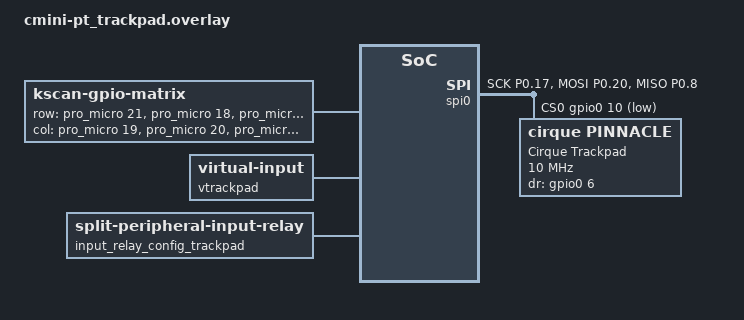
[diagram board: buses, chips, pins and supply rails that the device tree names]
#include "cmini-pt.dtsi" // Notice that the main dtsi files are included in the overlay.

#define INPUT_EV_KEY 0x01               /**< Key event */
#define INPUT_EV_REL 0x02               /**< Relative coordinate event */
#define INPUT_EV_ABS 0x03               /**< Absolute coordinate event */
#define INPUT_EV_MSC 0x04               /**< Miscellaneous event */
#define INPUT_EV_VENDOR_START 0xf0      /**< Vendor specific event start */
#define INPUT_EV_VENDOR_STOP 0xff       /**< Vendor specific event stop */

#define INPUT_REL_X 0x00                /**< Relative X coordinate */
#define INPUT_REL_Y 0x01                /**< Relative Y coordinate */
#define INPUT_REL_WHEEL 0x08            /**< Relative wheel coordinate */
#define INPUT_REL_HWHEEL 0x06           /**< Relative horizontal wheel coordinate */
#define INPUT_REL_MISC 0x09             /**< Relative misc coordinate */

/ {
    kscan0: kscan {
        compatible = "zmk,kscan-gpio-matrix";
        label = "KSCAN";
        diode-direction = "col2row";

        row-gpios
        = <&pro_micro 21 (GPIO_ACTIVE_HIGH | GPIO_PULL_DOWN)>
        , <&pro_micro 18 (GPIO_ACTIVE_HIGH | GPIO_PULL_DOWN)>
        , <&pro_micro 5 (GPIO_ACTIVE_HIGH | GPIO_PULL_DOWN)>
        , <&pro_micro 4 (GPIO_ACTIVE_HIGH | GPIO_PULL_DOWN)>
        ;
    col-gpios
        = <&pro_micro 19 GPIO_ACTIVE_HIGH>
        , <&pro_micro 20 GPIO_ACTIVE_HIGH>
        , <&pro_micro 10 GPIO_ACTIVE_HIGH>
        , <&pro_micro 6 GPIO_ACTIVE_HIGH>
        , <&pro_micro 7 GPIO_ACTIVE_HIGH>
        , <&pro_micro 8 GPIO_ACTIVE_HIGH>
        ;
    };
};

&pinctrl {
    spi0_default: spi0_default {
        group1 {
            psels = <NRF_PSEL(SPIM_SCK, 0, 17)>,
                <NRF_PSEL(SPIM_MOSI, 0, 20)>,
                <NRF_PSEL(SPIM_MISO, 0, 8)>;
        };
    };

    spi0_sleep: spi0_sleep {
        group1 {
            psels = <NRF_PSEL(SPIM_SCK, 0, 17)>,
                <NRF_PSEL(SPIM_MOSI, 0, 20)>,
                <NRF_PSEL(SPIM_MISO, 0, 8)>;
            low-power-enable;
        };
    };
};

&spi0 {
    status = "okay";
    compatible = "nordic,nrf-spim";
    pinctrl-0 = <&spi0_default>;
    pinctrl-1 = <&spi0_sleep>;
    pinctrl-names = "default", "sleep";
    cs-gpios = <&gpio0 10 GPIO_ACTIVE_LOW>; // P0.06

    trackpad: glidepoint@0 {
        compatible = "cirque,pinnacle";
        status = "okay";
        reg = <0>;
        label = "Cirque Trackpad";
        spi-max-frequency = <10000000>;
        dr-gpios = <&gpio0 6 GPIO_ACTIVE_HIGH>;
        no-taps;
    };
};


/ {
  vtrackpad: virtual_input_trackpad {
    compatible = "zmk,virtual-input";
  };

  vtrackball: virtual_input_trackball {
      compatible = "zmk,virtual-input";
  };

};

/ {
  input_relay_config_trackpad {
    compatible = "zmk,split-peripheral-input-relay";
    
    /* channel id, used to filter incoming annotated input event from split peripheral */
    /* NOTE: should matching relay-channel on peripheral overlay */
    relay-channel = <203>;

    /* virtual input device on central, which used to emit input event as an agent device */
    device = <&trackpad>;
  };
};
